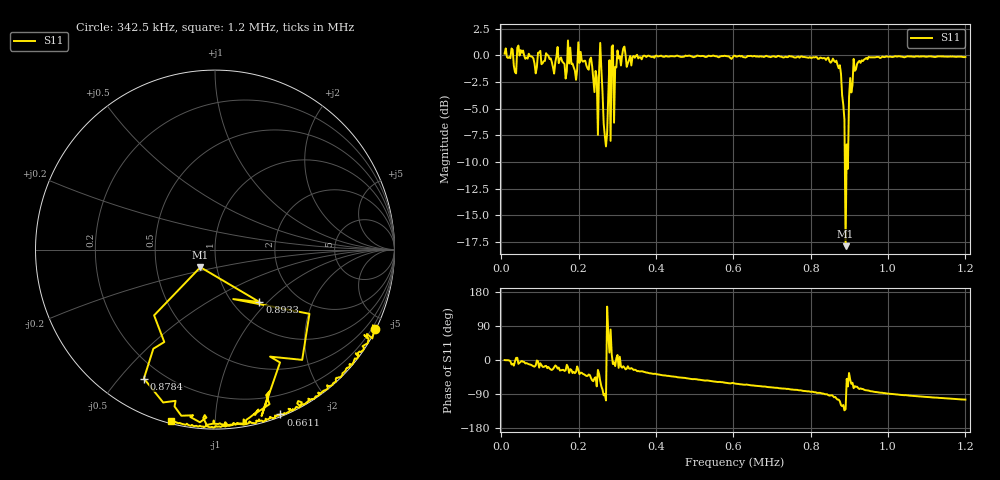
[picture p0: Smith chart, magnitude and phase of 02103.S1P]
!Agilent Technologies,E5071C,MY46100305,A.07.02
!Date: Fri Jan 01 02:32:38 1988
!Data & Calibration Information:
!Freq	S11:SOLT1(ON)
# Hz S RI R 50
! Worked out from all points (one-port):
!   401 points, 9 kHz to 1.2 MHz, reference 50 ohm
!   lowest |S11| = -17.9 dB at 890.3 kHz (marker M1), VSWR 1.29, Z = 41.7 - j8.32 ohm
!   |S11| at or under -10 dB: 888.3589 kHz to 892.8026 kHz (4.444 kHz wide, 0.499 % of centre); 895.4642 kHz to 896.5787 kHz (1.115 kHz wide, 0.124 % of centre)
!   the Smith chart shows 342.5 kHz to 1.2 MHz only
!   S11 on the Smith chart (normalised r, x): 342.5 kHz: 0.06, -4.26; 661.1 kHz: 0.02, -1.47; 878.4 kHz: 0.13, -0.58; 893.3 kHz: 1.31, -0.90; 1.2 MHz: 0.01, -0.77
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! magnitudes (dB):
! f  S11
! 9 kHz  0.2
! 157.9 kHz  -0.6
! 178.7 kHz  0.7
! 190.6 kHz  -1.4
! 205.5 kHz  0.3
! 232.3 kHz  -0.2
! 244.2 kHz  -1.5
! 259.1 kHz  -1.3
! 268 kHz  -7.6
! 271 kHz  -8.5
! 277 kHz  -3.7
! 282.9 kHz  -8.0
! 288.9 kHz  0.9
! 306.8 kHz  -0.1
! 342.5 kHz  -0.1
! 455.6 kHz  0.0
! 604.5 kHz  0.0
! 661.1 kHz  -0.1
! 753.4 kHz  -0.1
! 860.6 kHz  -0.5
! 878.4 kHz  -1.7
! 890.3 kHz  -17.9
! 893.3 kHz  -8.3
! 902.2 kHz  -2.1
! 905.2 kHz  -3.5
! 926.1 kHz  -0.5
! 1.051 MHz  -0.1
! 1.2 MHz  -0.1
